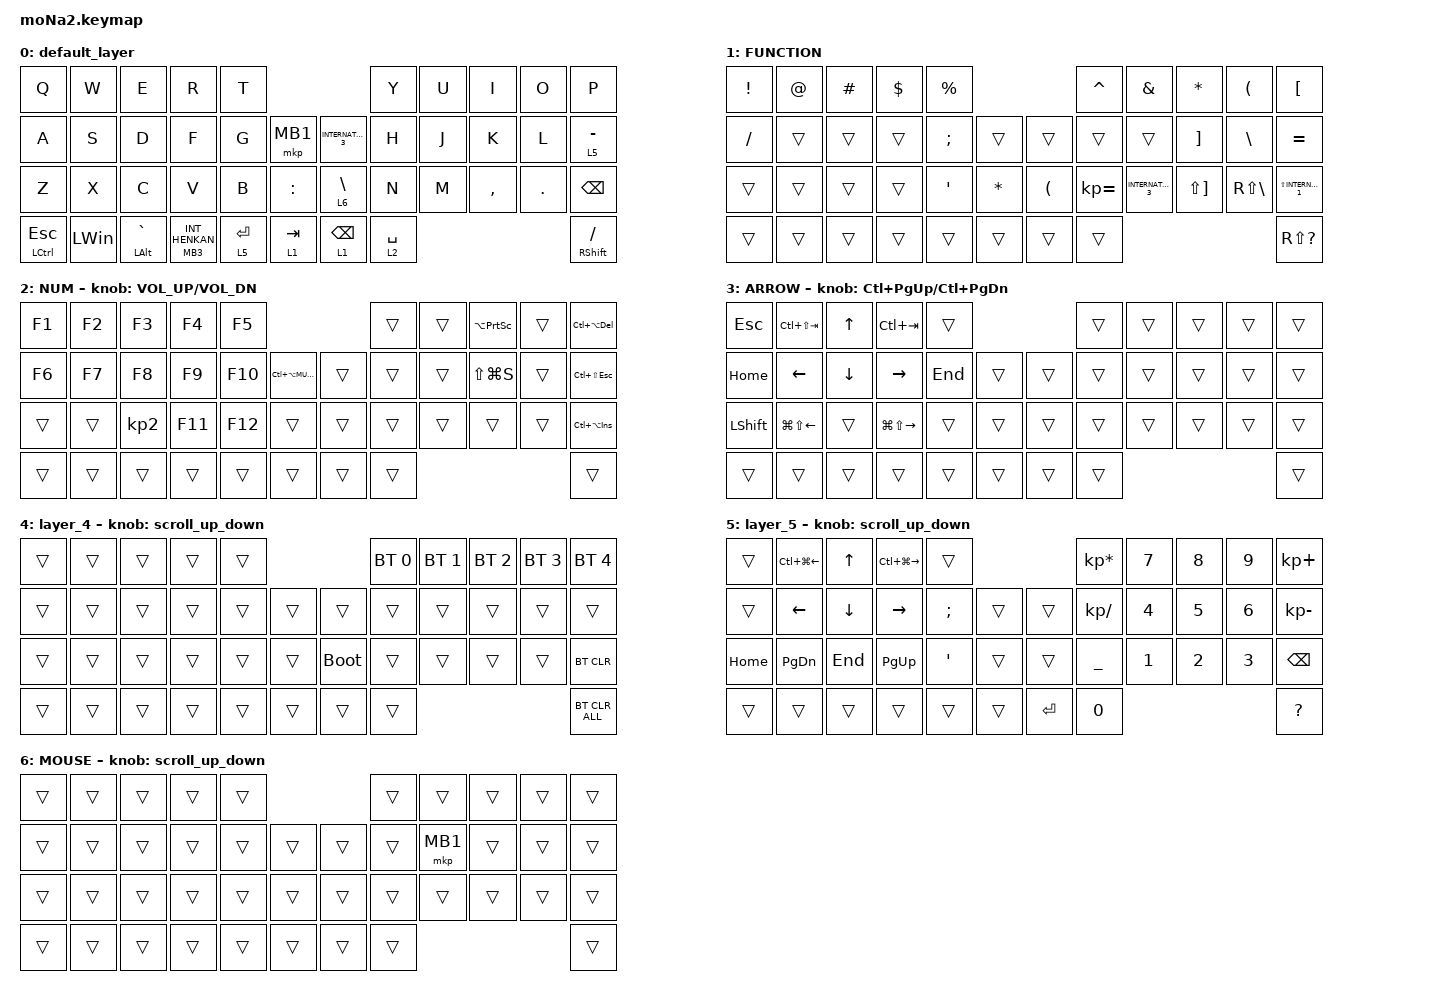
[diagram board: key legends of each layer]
#include <behaviors.dtsi>
#include <dt-bindings/zmk/bt.h>
#include <dt-bindings/zmk/keys.h>
#include <dt-bindings/zmk/pointing.h>

#define ZMK_POINTING_DEFAULT_SCRL_VAL 100
#define MOUSE 6


&mt {
    flavor = "balanced";
    quick-tap-ms = <0>;
};

/ {
    combos {
        compatible = "zmk,combos";

        zenkakuHankaku {
            bindings = <&kp GRAVE>;
            key-positions = <11 12>;
        };

        RightClick {
            bindings = <&mkp RCLK>;
            key-positions = <19 20>;
        };

        prevClick {
            bindings = <&mkp MB4>;
            key-positions = <32 31>;
        };

        nextClick {
            bindings = <&mkp MB5>;
            key-positions = <30 31>;
        };

        insertKey {
            bindings = <&kp INS>;
            key-positions = <6 7>;
        };

        deleteKey {
            bindings = <&kp DELETE>;
            key-positions = <8 7>;
        };
    };

    macros {
        to_layer_0: to_layer_0 {
            compatible = "zmk,behavior-macro-one-param";
            #binding-cells = <1>;
            bindings = <&to 0 &macro_param_1to1 &kp MACRO_PLACEHOLDER>;
            label = "TO_LAYER_0";
        };
    };

    behaviors {
        lt_to_layer_0: lt_to_layer_0 {
            compatible = "zmk,behavior-hold-tap";
            label = "LAYER_TAP_TO_0";
            bindings = <&mo>, <&to_layer_0>;

            #binding-cells = <2>;
            tapping-term-ms = <200>;
        };

        mkpt: mkpt {
            compatible = "zmk,behavior-hold-tap";
            label = "MKPT";
            bindings = <&mkp>, <&kp>;

            #binding-cells = <2>;
            tapping-term-ms = <150>;
            quick-tap-ms = <150>;
            require-prior-idle-ms = <125>;
            hold-trigger-key-positions = <37>;
        };
    };
    keymap {
        compatible = "zmk,keymap";

        default_layer {
            bindings = <
&kp Q          &kp W         &kp E               &kp R                 &kp T                                                     &kp Y        &kp U  &kp I      &kp O    &kp P
&kp A          &kp S         &kp D               &kp F                 &kp G        &mkp MB1                &kp INTERNATIONAL_3  &kp H        &kp J  &kp K      &kp L    &lt 5 MINUS
&kp Z          &kp X         &kp C               &kp V                 &kp B        &kp COLON               &lt 6 BACKSLASH      &kp N        &kp M  &kp COMMA  &kp DOT  &kp BACKSPACE
&mt LCTRL ESC  &kp LEFT_WIN  &mt LEFT_ALT GRAVE  &mkpt MB3 INT_HENKAN  &lt 5 ENTER  &lt_to_layer_0 1 TAB    &lt 1 BACKSPACE      &lt 2 SPACE                             &mt RIGHT_SHIFT SLASH
            >;
            //sensor-bindings =
            //    <&scroll_up_down>,
            //    <&inc_dec_kp C_VOL_DN C_VOL_UP>;
        };

        FUNCTION {
            bindings = <
&kp EXCLAMATION  &kp AT_SIGN  &kp HASH  &kp DOLLAR  &kp PERCENT                                          &kp CARET     &kp AMPERSAND        &kp ASTERISK           &kp LEFT_PARENTHESIS  &kp LEFT_BRACKET
&kp SLASH        &trans       &trans    &trans      &kp SEMICOLON  &trans          &trans                &trans        &trans               &kp RIGHT_BRACKET      &kp BACKSLASH         &kp EQUAL
&trans           &trans       &trans    &trans      &kp SQT        &kp ASTERISK    &kp LEFT_PARENTHESIS  &kp KP_EQUAL  &kp INTERNATIONAL_3  &kp LS(RIGHT_BRACKET)  &kp RS(BACKSLASH)     &kp LS(INTERNATIONAL_1)
&trans           &trans       &trans    &trans      &trans         &trans          &trans                &trans                                                                          &kp RS(QUESTION)
            >;
        };

        NUM {
            bindings = <
&kp F1  &kp F2  &kp F3           &kp F4   &kp F5                                 &trans  &trans  &kp LA(PSCRN)  &trans  &kp LC(LA(DELETE))
&kp F6  &kp F7  &kp F8           &kp F9   &kp F10  &kp LC(LA(C_MUTE))    &trans  &trans  &trans  &kp LS(LG(S))  &trans  &kp LC(LS(ESC))
&trans  &trans  &kp KP_NUMBER_2  &kp F11  &kp F12  &trans                &trans  &trans  &trans  &trans         &trans  &kp LC(LA(INS))
&trans  &trans  &trans           &trans   &trans   &trans                &trans  &trans                                 &trans
            >;
            sensor-bindings = <&inc_dec_kp C_VOLUME_UP C_VOL_DN>;
        };

        ARROW {
            bindings = <
&kp ESCAPE      &kp LC(LS(TAB))         &kp UP_ARROW    &kp LC(TAB)              &trans                     &trans  &trans  &trans  &trans  &trans
&kp HOME        &kp LEFT_ARROW          &kp DOWN_ARROW  &kp RIGHT_ARROW          &kp END  &trans    &trans  &trans  &trans  &trans  &trans  &trans
&kp LEFT_SHIFT  &kp LG(LS(LEFT_ARROW))  &trans          &kp LG(LS(RIGHT_ARROW))  &trans   &trans    &trans  &trans  &trans  &trans  &trans  &trans
&trans          &trans                  &trans          &trans                   &trans   &trans    &trans  &trans                          &trans
            >;
            sensor-bindings = <&inc_dec_kp LC(PAGE_UP) LC(PAGE_DOWN)>;
        };

        layer_4 {
            bindings = <
&trans  &trans  &trans  &trans  &trans                         &bt BT_SEL 0  &bt BT_SEL 1  &bt BT_SEL 2  &bt BT_SEL 3  &bt BT_SEL 4
&trans  &trans  &trans  &trans  &trans  &trans    &trans       &trans        &trans        &trans        &trans        &trans
&trans  &trans  &trans  &trans  &trans  &trans    &bootloader  &trans        &trans        &trans        &trans        &bt BT_CLR
&trans  &trans  &trans  &trans  &trans  &trans    &trans       &trans                                                  &bt BT_CLR_ALL
            >;
            sensor-bindings = <&scroll_up_down>;
        };

        layer_5 {
            bindings = <
&trans    &kp LC(LG(LEFT))  &kp UP_ARROW  &kp LC(LG(RIGHT))  &trans                               &kp KP_MULTIPLY  &kp NUMBER_7  &kp N8        &kp N9        &kp KP_PLUS
&trans    &kp LEFT          &kp DOWN      &kp RIGHT          &kp SEMI        &trans    &trans     &kp KP_SLASH     &kp NUMBER_4  &kp N5        &kp N6        &kp KP_MINUS
&kp HOME  &kp PAGE_DOWN     &kp END       &kp PG_UP          &kp APOSTROPHE  &trans    &trans     &kp UNDERSCORE   &kp NUMBER_1  &kp NUMBER_2  &kp NUMBER_3  &kp BACKSPACE
&trans    &trans            &trans        &trans             &trans          &trans    &kp ENTER  &kp NUMBER_0                                               &kp QUESTION
            >;
            sensor-bindings = <&scroll_up_down>;
        };

        MOUSE {
            bindings = <
&trans  &trans  &trans  &trans  &trans                    &trans  &trans    &trans  &trans  &trans
&trans  &trans  &trans  &trans  &trans  &trans    &trans  &trans  &mkp MB1  &trans  &trans  &trans
&trans  &trans  &trans  &trans  &trans  &trans    &trans  &trans  &trans    &trans  &trans  &trans
&trans  &trans  &trans  &trans  &trans  &trans    &trans  &trans                            &trans
            >;
            sensor-bindings = <&scroll_up_down>;
        };
    };
};
